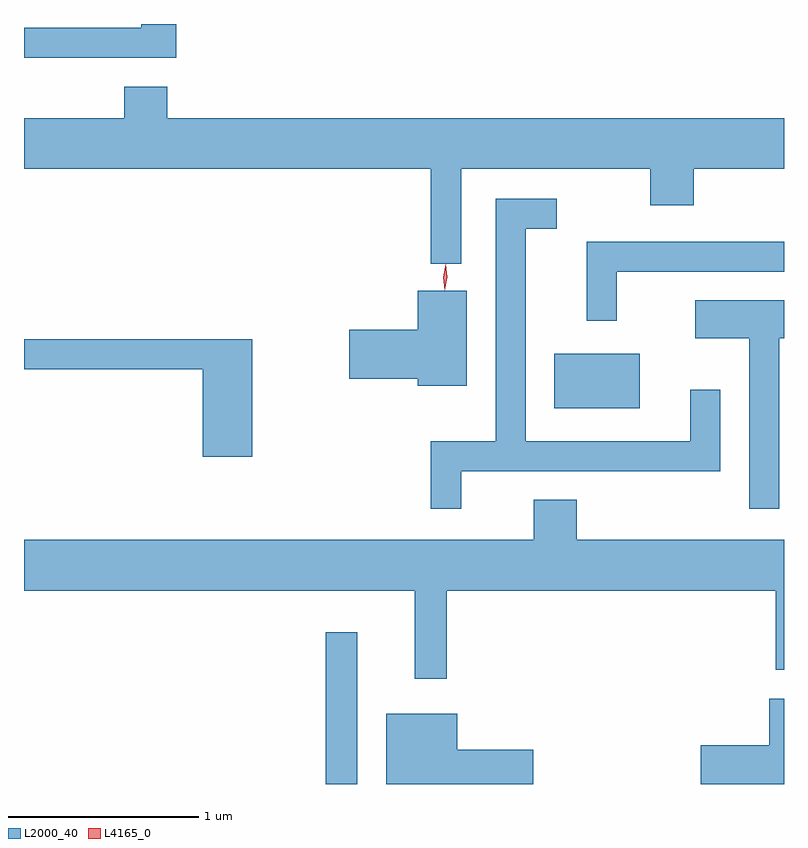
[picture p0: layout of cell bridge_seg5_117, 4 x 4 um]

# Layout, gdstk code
import gdstk
lib = gdstk.Library(unit=1e-6, precision=1e-09)
def R(c, l, rs):  # rectangles x0, y0, x1, y1
    for r in rs: c.add(gdstk.rectangle(r[:2], r[2:], *l))
def P(c, l, *ps):  # polygons
    for p in ps: c.add(gdstk.Polygon(p, *l))
L2000_40 = (2000, 40)
L4165_0 = (4165, 0)

bridge_seg5_117 = lib.new_cell('bridge_seg5_117')
R(bridge_seg5_117, L2000_40, [(1021.401,1520.159,1021.569,1520.958), (1022.606,1522.136,1023.054,1522.424)])
P(bridge_seg5_117, L2000_40, [(1020.614,1524.159),(1020.431,1524.159),(1020.431,1524.139),(1019.814,1524.139),(1019.814,1523.981),(1020.614,1523.981)],
  [(1022.114,1523.396),(1023.111,1523.396),(1023.111,1523.206),(1023.339,1523.206),(1023.339,1523.396),(1023.814,1523.396),(1023.814,1523.664),(1020.569,1523.664),(1020.569,1523.829),(1020.341,1523.829),(1020.341,1523.664),(1019.814,1523.664),(1019.814,1523.396),(1021.956,1523.396),(1021.956,1522.898),(1022.114,1522.898)],
  [(1022.114,1521.806),(1023.479,1521.806),(1023.479,1522.233),(1023.321,1522.233),(1023.321,1521.964),(1022.454,1521.964),(1022.454,1523.081),(1022.618,1523.081),(1022.618,1523.239),(1022.296,1523.239),(1022.296,1521.964),(1021.956,1521.964),(1021.956,1521.608),(1022.114,1521.608)],
  [(1022.934,1522.856),(1023.814,1522.856),(1023.814,1523.014),(1022.776,1523.014),(1022.776,1522.598),(1022.934,1522.598)],
  [(1022.144,1522.754),(1021.886,1522.754),(1021.886,1522.549),(1021.526,1522.549),(1021.526,1522.291),(1021.886,1522.291),(1021.886,1522.256),(1022.144,1522.256)],
  [(1023.789,1522.506),(1023.814,1522.506),(1023.814,1522.704),(1023.346,1522.704),(1023.346,1522.506),(1023.631,1522.506),(1023.631,1521.608),(1023.789,1521.608)],
  [(1021.014,1522.499),(1019.814,1522.499),(1019.814,1522.341),(1020.756,1522.341),(1020.756,1521.881),(1021.014,1521.881)],
  [(1022.039,1521.176),(1023.771,1521.176),(1023.771,1520.761),(1023.814,1520.761),(1023.814,1521.444),(1022.724,1521.444),(1022.724,1521.654),(1022.496,1521.654),(1022.496,1521.444),(1019.814,1521.444),(1019.814,1521.176),(1021.871,1521.176),(1021.871,1520.713),(1022.039,1520.713)],
  [(1023.814,1520.609),(1023.736,1520.609),(1023.736,1520.364),(1023.376,1520.364),(1023.376,1520.159),(1023.814,1520.159)],
  [(1022.494,1520.339),(1022.094,1520.339),(1022.094,1520.529),(1021.721,1520.529),(1021.721,1520.159),(1022.494,1520.159)])
P(bridge_seg5_117, L4165_0, [(1022.028,1522.761),(1022.028,1522.761),(1022.021,1522.827),(1022.033,1522.891),(1022.034,1522.892),(1022.034,1522.891),(1022.041,1522.826),(1022.029,1522.761)],
  [(1022.028,1522.758),(1022.028,1522.758),(1022.021,1522.827),(1022.033,1522.894),(1022.034,1522.895),(1022.034,1522.894),(1022.041,1522.826),(1022.029,1522.758)])

lib.write_gds('bridge_seg5_117.gds')
